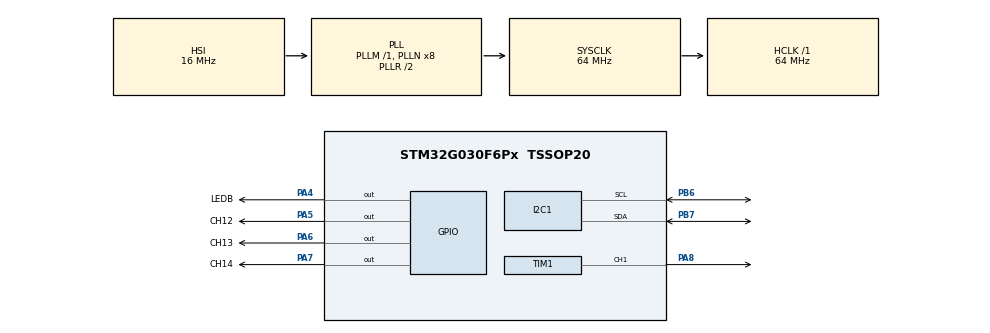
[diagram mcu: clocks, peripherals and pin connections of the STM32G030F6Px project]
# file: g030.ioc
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I2C1.Timing=0x10B17DB5
Mcu.Family=STM32G0
Mcu.Name=STM32G030F6Px
Mcu.Package=TSSOP20
PA14-BOOT0__PA15.StandardMode=true
PA4.GPIO_Label=LEDB
PA4.GPIO_Speed=GPIO_SPEED_FREQ_VERY_HIGH
PA4.Signal=GPIO_Output
PA5.GPIO_Label=CH12
PA5.GPIO_Speed=GPIO_SPEED_FREQ_VERY_HIGH
PA5.Signal=GPIO_Output
PA6.GPIO_Label=CH13
PA6.GPIO_Speed=GPIO_SPEED_FREQ_VERY_HIGH
PA6.Signal=GPIO_Output
PA7.GPIO_Label=CH14
PA7.GPIO_Speed=GPIO_SPEED_FREQ_VERY_HIGH
PA7.Signal=GPIO_Output
PA8.GPIO_Speed=GPIO_SPEED_FREQ_VERY_HIGH
PA8.Signal=S_TIM1_CH1
PB0__PB1__PB2__PA8.StandardMode=true
PB3__PB4__PB5__PB6.StandardMode=true
PB6.GPIO_FM6=SYSCFG_FASTMODEPLUS_PB6
PB6.GPIO_Pu=GPIO_PULLUP
PB6.GPIO_Speed=GPIO_SPEED_FREQ_VERY_HIGH
PB6.Mode=I2C
PB6.Signal=I2C1_SCL
PB7.GPIO_FM7=SYSCFG_FASTMODEPLUS_PB7
PB7.GPIO_Pu=GPIO_PULLUP
PB7.GPIO_Speed=GPIO_SPEED_FREQ_VERY_HIGH
PB7.Mode=I2C
PB7.Signal=I2C1_SDA
PB7__PB8.StandardMode=true
PC14-OSC32_IN\ (PC14)__PB9.StandardMode=true
ProjectManager.HeapSize=0x200
ProjectManager.StackSize=0x400
ProjectManager.TargetToolchain=STM32CubeIDE
RCC.ADCFreq_Value=64000000
RCC.AHBFreq_Value=64000000
RCC.CortexFreq_Value=64000000
RCC.EXTERNAL_CLOCK_VALUE=12288000
RCC.HCLKFreq_Value=64000000
RCC.HSE_VALUE=8000000
RCC.HSI_VALUE=16000000
RCC.LSE_VALUE=32768
RCC.SYSCLKFreq_VALUE=64000000
RCC.SYSCLKSource=RCC_SYSCLKSOURCE_PLLCLK
RCC.VCOOutputFreq_Value=128000000
SH.S_TIM1_CH1.0=TIM1_CH1,PWM Generation1 CH1
TIM1.Channel-PWM\ Generation1\ CH1=TIM_CHANNEL_1
board=custom

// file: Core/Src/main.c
/* USER CODE BEGIN Header */
/**
  ******************************************************************************
  * @file           : main.c
  * @brief          : Main program body
  ******************************************************************************
  * @attention
  *
  * Copyright (c) 2026 STMicroelectronics.
  * All rights reserved.
  *
  * This software is licensed under terms that can be found in the LICENSE file
  * in the root directory of this software component.
  * If no LICENSE file comes with this software, it is provided AS-IS.
  *
  ******************************************************************************
  */
/* USER CODE END Header */
#include "main.h"

/* USER CODE BEGIN Includes */

#include "led_ws2812.h"

/* USER CODE END Includes */

void SystemClock_Config(void);
static void MX_TIM1_Init(void);
static void MX_I2C1_Init(void);

int main(void)
{

  /* MCU Configuration--------------------------------------------------------*/

  /* Reset of all peripherals, Initializes the Flash interface and the Systick. */
  HAL_Init();

  /* Configure the system clock */
  SystemClock_Config();

  /* Initialize all configured peripherals */
  MX_GPIO_Init();
  MX_TIM1_Init();
  MX_I2C1_Init();
  /* USER CODE BEGIN 2 */

  TIM1_DMA_LED_Init();

  /* USER CODE END 2 */

  /* Infinite loop */
  /* USER CODE BEGIN WHILE */

  float heading, roll, pitch;

  static uint16_t lastled = LED_COUNT - 1;

  bno055_init();

  while (1)
  {
      bno055_read_euler(&heading, &roll, &pitch);

      uint16_t led = (uint16_t)(144.0f * heading / 360.0f);
      ws2812_set_rgb(lastled,0,0,0);
      ws2812_set_rgb(led, 0, 255, 0);
      lastled=led;
      ws2812_start();

      LL_mDelay(10);
  }

  static uint16_t hue_offset = 0;

  while (1)
  {
      LL_mDelay(3);   // скорость вращения радуги

      for (uint16_t i = 0; i < LED_COUNT; i++)
      {
          uint16_t hue = (i * 256 / LED_COUNT + hue_offset) & 0xFF;

          uint8_t r, g, b;
          hsv_to_rgb(hue, 255, 80, &r, &g, &b); // яркость 80 — щадит глаза

          ws2812_set_rgb(i, r, g, b);
      }

      ws2812_start();

      hue_offset++;   // вращаем радугу
      LL_GPIO_TogglePin(LEDB_GPIO_Port, LEDB_Pin);
  }

  static uint16_t led = 0;
//  static uint16_t lastled = LED_COUNT - 1;

  while (1)
  {
    /* USER CODE END WHILE */

    /* USER CODE BEGIN 3 */
      LL_mDelay(70);

      ws2812_set_rgb(lastled,0,0,0);
      ws2812_set_rgb(led,0,255,255);
      lastled=led;
      led = (led+1)% LED_COUNT;
      ws2812_start();

  	LL_GPIO_TogglePin(LEDB_GPIO_Port, LEDB_Pin);
  }
  /* USER CODE END 3 */
}

void SystemClock_Config(void)
{
  RCC_OscInitTypeDef RCC_OscInitStruct = {0};
  RCC_ClkInitTypeDef RCC_ClkInitStruct = {0};

  /** Configure the main internal regulator output voltage
  */
  HAL_PWREx_ControlVoltageScaling(PWR_REGULATOR_VOLTAGE_SCALE1);

  /** Initializes the RCC Oscillators according to the specified parameters
  * in the RCC_OscInitTypeDef structure.
  */
  RCC_OscInitStruct.OscillatorType = RCC_OSCILLATORTYPE_HSI;
  RCC_OscInitStruct.HSIState = RCC_HSI_ON;
  RCC_OscInitStruct.HSIDiv = RCC_HSI_DIV1;
  RCC_OscInitStruct.HSICalibrationValue = RCC_HSICALIBRATION_DEFAULT;
  RCC_OscInitStruct.PLL.PLLState = RCC_PLL_ON;
  RCC_OscInitStruct.PLL.PLLSource = RCC_PLLSOURCE_HSI;
  RCC_OscInitStruct.PLL.PLLM = RCC_PLLM_DIV1;
  RCC_OscInitStruct.PLL.PLLN = 8;
  RCC_OscInitStruct.PLL.PLLP = RCC_PLLP_DIV2;
  RCC_OscInitStruct.PLL.PLLR = RCC_PLLR_DIV2;
  if (HAL_RCC_OscConfig(&RCC_OscInitStruct) != HAL_OK)
  {
    Error_Handler();
  }

  /** Initializes the CPU, AHB and APB buses clocks
  */
  RCC_ClkInitStruct.ClockType = RCC_CLOCKTYPE_HCLK|RCC_CLOCKTYPE_SYSCLK
                              |RCC_CLOCKTYPE_PCLK1;
  RCC_ClkInitStruct.SYSCLKSource = RCC_SYSCLKSOURCE_PLLCLK;
  RCC_ClkInitStruct.AHBCLKDivider = RCC_SYSCLK_DIV1;
  RCC_ClkInitStruct.APB1CLKDivider = RCC_HCLK_DIV1;

  if (HAL_RCC_ClockConfig(&RCC_ClkInitStruct, FLASH_LATENCY_2) != HAL_OK)
  {
    Error_Handler();
  }
}

static void MX_I2C1_Init(void)
{

  LL_I2C_InitTypeDef I2C_InitStruct = {0};

  LL_GPIO_InitTypeDef GPIO_InitStruct = {0};
  RCC_PeriphCLKInitTypeDef PeriphClkInit = {0};

  /** Initializes the peripherals clocks
  */
  PeriphClkInit.PeriphClockSelection = RCC_PERIPHCLK_I2C1;
  PeriphClkInit.I2c1ClockSelection = RCC_I2C1CLKSOURCE_PCLK1;
  if (HAL_RCCEx_PeriphCLKConfig(&PeriphClkInit) != HAL_OK)
  {
    Error_Handler();
  }

  LL_IOP_GRP1_EnableClock(LL_IOP_GRP1_PERIPH_GPIOB);
  /**I2C1 GPIO Configuration
  PB7   ------> I2C1_SDA
  PB6   ------> I2C1_SCL
  */
  GPIO_InitStruct.Pin = LL_GPIO_PIN_7;
  GPIO_InitStruct.Mode = LL_GPIO_MODE_ALTERNATE;
  GPIO_InitStruct.Speed = LL_GPIO_SPEED_FREQ_VERY_HIGH;
  GPIO_InitStruct.OutputType = LL_GPIO_OUTPUT_OPENDRAIN;
  GPIO_InitStruct.Pull = LL_GPIO_PULL_UP;
  GPIO_InitStruct.Alternate = LL_GPIO_AF_6;
  LL_GPIO_Init(GPIOB, &GPIO_InitStruct);

  GPIO_InitStruct.Pin = LL_GPIO_PIN_6;
  GPIO_InitStruct.Mode = LL_GPIO_MODE_ALTERNATE;
  GPIO_InitStruct.Speed = LL_GPIO_SPEED_FREQ_VERY_HIGH;
  GPIO_InitStruct.OutputType = LL_GPIO_OUTPUT_OPENDRAIN;
  GPIO_InitStruct.Pull = LL_GPIO_PULL_UP;
  GPIO_InitStruct.Alternate = LL_GPIO_AF_6;
  LL_GPIO_Init(GPIOB, &GPIO_InitStruct);

  LL_SYSCFG_EnableFastModePlus(LL_SYSCFG_I2C_FASTMODEPLUS_PB7);

  LL_SYSCFG_EnableFastModePlus(LL_SYSCFG_I2C_FASTMODEPLUS_PB6);

  /* Peripheral clock enable */
  LL_APB1_GRP1_EnableClock(LL_APB1_GRP1_PERIPH_I2C1);

  /** I2C Initialization
  */
  I2C_InitStruct.PeripheralMode = LL_I2C_MODE_I2C;
  I2C_InitStruct.Timing = 0x10B17DB5;
  I2C_InitStruct.AnalogFilter = LL_I2C_ANALOGFILTER_ENABLE;
  I2C_InitStruct.DigitalFilter = 0;
  I2C_InitStruct.OwnAddress1 = 0;
  I2C_InitStruct.TypeAcknowledge = LL_I2C_ACK;
  I2C_InitStruct.OwnAddrSize = LL_I2C_OWNADDRESS1_7BIT;
  LL_I2C_Init(I2C1, &I2C_InitStruct);
  LL_I2C_EnableAutoEndMode(I2C1);
  LL_I2C_SetOwnAddress2(I2C1, 0, LL_I2C_OWNADDRESS2_NOMASK);
  LL_I2C_DisableOwnAddress2(I2C1);
  LL_I2C_DisableGeneralCall(I2C1);
  LL_I2C_EnableClockStretching(I2C1);

}

static void MX_TIM1_Init(void)
{

  LL_TIM_InitTypeDef TIM_InitStruct = {0};
  LL_TIM_OC_InitTypeDef TIM_OC_InitStruct = {0};
  LL_TIM_BDTR_InitTypeDef TIM_BDTRInitStruct = {0};

  LL_GPIO_InitTypeDef GPIO_InitStruct = {0};

  /* Peripheral clock enable */
  LL_APB2_GRP1_EnableClock(LL_APB2_GRP1_PERIPH_TIM1);

  TIM_InitStruct.Prescaler = 0;
  TIM_InitStruct.CounterMode = LL_TIM_COUNTERMODE_UP;
  TIM_InitStruct.Autoreload = 65535;
  TIM_InitStruct.ClockDivision = LL_TIM_CLOCKDIVISION_DIV1;
  TIM_InitStruct.RepetitionCounter = 0;
  LL_TIM_Init(TIM1, &TIM_InitStruct);
  LL_TIM_DisableARRPreload(TIM1);
  LL_TIM_OC_EnablePreload(TIM1, LL_TIM_CHANNEL_CH1);
  TIM_OC_InitStruct.OCMode = LL_TIM_OCMODE_PWM1;
  TIM_OC_InitStruct.OCState = LL_TIM_OCSTATE_DISABLE;
  TIM_OC_InitStruct.OCNState = LL_TIM_OCSTATE_DISABLE;
  TIM_OC_InitStruct.CompareValue = 0;
  TIM_OC_InitStruct.OCPolarity = LL_TIM_OCPOLARITY_HIGH;
  TIM_OC_InitStruct.OCNPolarity = LL_TIM_OCPOLARITY_HIGH;
  TIM_OC_InitStruct.OCIdleState = LL_TIM_OCIDLESTATE_LOW;
  TIM_OC_InitStruct.OCNIdleState = LL_TIM_OCIDLESTATE_LOW;
  LL_TIM_OC_Init(TIM1, LL_TIM_CHANNEL_CH1, &TIM_OC_InitStruct);
  LL_TIM_OC_DisableFast(TIM1, LL_TIM_CHANNEL_CH1);
  LL_TIM_SetTriggerOutput(TIM1, LL_TIM_TRGO_RESET);
  LL_TIM_SetTriggerOutput2(TIM1, LL_TIM_TRGO2_RESET);
  LL_TIM_DisableMasterSlaveMode(TIM1);
  TIM_BDTRInitStruct.OSSRState = LL_TIM_OSSR_DISABLE;
  TIM_BDTRInitStruct.OSSIState = LL_TIM_OSSI_DISABLE;
  TIM_BDTRInitStruct.LockLevel = LL_TIM_LOCKLEVEL_OFF;
  TIM_BDTRInitStruct.DeadTime = 0;
  TIM_BDTRInitStruct.BreakState = LL_TIM_BREAK_DISABLE;
  TIM_BDTRInitStruct.BreakPolarity = LL_TIM_BREAK_POLARITY_HIGH;
  TIM_BDTRInitStruct.BreakFilter = LL_TIM_BREAK_FILTER_FDIV1;
  TIM_BDTRInitStruct.BreakAFMode = LL_TIM_BREAK_AFMODE_INPUT;
  TIM_BDTRInitStruct.Break2State = LL_TIM_BREAK2_DISABLE;
  TIM_BDTRInitStruct.Break2Polarity = LL_TIM_BREAK2_POLARITY_HIGH;
  TIM_BDTRInitStruct.Break2Filter = LL_TIM_BREAK2_FILTER_FDIV1;
  TIM_BDTRInitStruct.Break2AFMode = LL_TIM_BREAK_AFMODE_INPUT;
  TIM_BDTRInitStruct.AutomaticOutput = LL_TIM_AUTOMATICOUTPUT_DISABLE;
  LL_TIM_BDTR_Init(TIM1, &TIM_BDTRInitStruct);
  LL_IOP_GRP1_EnableClock(LL_IOP_GRP1_PERIPH_GPIOA);
  /**TIM1 GPIO Configuration
  PA8   ------> TIM1_CH1
  */
  GPIO_InitStruct.Pin = LL_GPIO_PIN_8;
  GPIO_InitStruct.Mode = LL_GPIO_MODE_ALTERNATE;
  GPIO_InitStruct.Speed = LL_GPIO_SPEED_FREQ_VERY_HIGH;
  GPIO_InitStruct.OutputType = LL_GPIO_OUTPUT_PUSHPULL;
  GPIO_InitStruct.Pull = LL_GPIO_PULL_NO;
  GPIO_InitStruct.Alternate = LL_GPIO_AF_2;
  LL_GPIO_Init(GPIOA, &GPIO_InitStruct);

}

void MX_GPIO_Init(void)
{
  LL_GPIO_InitTypeDef GPIO_InitStruct = {0};

  /* GPIO Ports Clock Enable */
  LL_IOP_GRP1_EnableClock(LL_IOP_GRP1_PERIPH_GPIOB);
  LL_IOP_GRP1_EnableClock(LL_IOP_GRP1_PERIPH_GPIOA);

  /**/
  LL_GPIO_ResetOutputPin(LEDB_GPIO_Port, LEDB_Pin);

  /**/
  LL_GPIO_ResetOutputPin(CH12_GPIO_Port, CH12_Pin);

  /**/
  LL_GPIO_ResetOutputPin(CH13_GPIO_Port, CH13_Pin);

  /**/
  LL_GPIO_ResetOutputPin(CH14_GPIO_Port, CH14_Pin);

  /**/
  GPIO_InitStruct.Pin = LEDB_Pin;
  GPIO_InitStruct.Mode = LL_GPIO_MODE_OUTPUT;
  GPIO_InitStruct.Speed = LL_GPIO_SPEED_FREQ_VERY_HIGH;
  GPIO_InitStruct.OutputType = LL_GPIO_OUTPUT_PUSHPULL;
  GPIO_InitStruct.Pull = LL_GPIO_PULL_NO;
  LL_GPIO_Init(LEDB_GPIO_Port, &GPIO_InitStruct);

  /**/
  GPIO_InitStruct.Pin = CH12_Pin;
  GPIO_InitStruct.Mode = LL_GPIO_MODE_OUTPUT;
  GPIO_InitStruct.Speed = LL_GPIO_SPEED_FREQ_VERY_HIGH;
  GPIO_InitStruct.OutputType = LL_GPIO_OUTPUT_PUSHPULL;
  GPIO_InitStruct.Pull = LL_GPIO_PULL_NO;
  LL_GPIO_Init(CH12_GPIO_Port, &GPIO_InitStruct);

  /**/
  GPIO_InitStruct.Pin = CH13_Pin;
  GPIO_InitStruct.Mode = LL_GPIO_MODE_OUTPUT;
  GPIO_InitStruct.Speed = LL_GPIO_SPEED_FREQ_VERY_HIGH;
  GPIO_InitStruct.OutputType = LL_GPIO_OUTPUT_PUSHPULL;
  GPIO_InitStruct.Pull = LL_GPIO_PULL_NO;
  LL_GPIO_Init(CH13_GPIO_Port, &GPIO_InitStruct);

  /**/
  GPIO_InitStruct.Pin = CH14_Pin;
  GPIO_InitStruct.Mode = LL_GPIO_MODE_OUTPUT;
  GPIO_InitStruct.Speed = LL_GPIO_SPEED_FREQ_VERY_HIGH;
  GPIO_InitStruct.OutputType = LL_GPIO_OUTPUT_PUSHPULL;
  GPIO_InitStruct.Pull = LL_GPIO_PULL_NO;
  LL_GPIO_Init(CH14_GPIO_Port, &GPIO_InitStruct);

}

void Error_Handler(void)
{
  __disable_irq();
  while (1)
  {
  }
}
